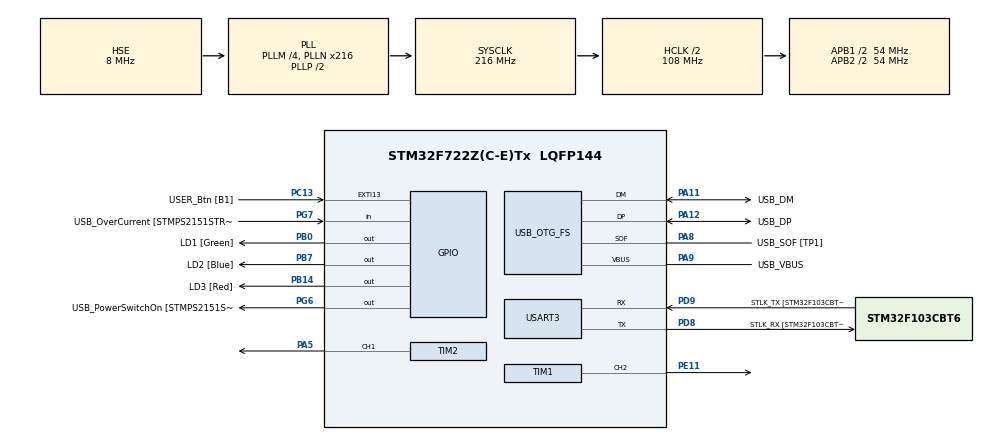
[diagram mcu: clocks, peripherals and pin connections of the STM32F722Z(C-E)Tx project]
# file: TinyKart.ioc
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Mcu.Family=STM32F7
Mcu.Name=STM32F722Z(C-E)Tx
Mcu.Package=LQFP144
NVIC.PriorityGroup=NVIC_PRIORITYGROUP_4
PA10.GPIO_Label=USB_ID
PA10.Signal=USB_OTG_FS_ID
PA11.GPIO_Label=USB_DM
PA11.Mode=Device_Only
PA11.Signal=USB_OTG_FS_DM
PA12.GPIO_Label=USB_DP
PA12.Mode=Device_Only
PA12.Signal=USB_OTG_FS_DP
PA13.GPIO_Label=TMS
PA13.Mode=Serial_Wire
PA13.Signal=SYS_JTMS-SWDIO
PA14.GPIO_Label=TCK
PA14.Mode=Serial_Wire
PA14.Signal=SYS_JTCK-SWCLK
PA5.Signal=S_TIM2_CH1_ETR
PA8.GPIO_Label=USB_SOF [TP1]
PA8.Mode=Activate_SOF_FS
PA8.Signal=USB_OTG_FS_SOF
PA9.GPIO_Label=USB_VBUS
PA9.Mode=Activate_VBUS
PA9.Signal=USB_OTG_FS_VBUS
PB0.GPIO_Label=LD1 [Green]
PB0.Signal=GPIO_Output
PB14.GPIO_Label=LD3 [Red]
PB14.Signal=GPIO_Output
PB3.GPIO_Label=SWO
PB3.Signal=SYS_JTDO-SWO
PB7.GPIO_Label=LD2 [Blue]
PB7.Signal=GPIO_Output
PC13.GPIO_Label=USER_Btn [B1]
PC13.Signal=GPXTI13
PC14-OSC32_IN.Mode=LSE-External-Oscillator
PC14-OSC32_IN.Signal=RCC_OSC32_IN
PC15-OSC32_OUT.Mode=LSE-External-Oscillator
PC15-OSC32_OUT.Signal=RCC_OSC32_OUT
PD8.GPIO_Label=STLK_RX [STM32F103CBT6_PA3]
PD8.Mode=Asynchronous
PD8.Signal=USART3_TX
PD9.GPIO_Label=STLK_TX [STM32F103CBT6_PA2]
PD9.Mode=Asynchronous
PD9.Signal=USART3_RX
PE11.Signal=S_TIM1_CH2
PG6.GPIO_Label=USB_PowerSwitchOn [STMPS2151STR_EN]
PG6.Signal=GPIO_Output
PG7.GPIO_Label=USB_OverCurrent [STMPS2151STR_FAULT]
PG7.Signal=GPIO_Input
PH0-OSC_IN.GPIO_Label=MCO
PH0-OSC_IN.Mode=HSE-External-Clock-Source
PH0-OSC_IN.Signal=RCC_OSC_IN
PH1-OSC_OUT.Mode=HSE-External-Clock-Source
PH1-OSC_OUT.Signal=RCC_OSC_OUT
ProjectManager.HeapSize=0x200
ProjectManager.StackSize=0x400
ProjectManager.TargetToolchain=STM32CubeIDE
RCC.48MHZClocksFreq_Value=24000000
RCC.AHBCLKDivider=RCC_SYSCLK_DIV2
RCC.AHBFreq_Value=108000000
RCC.APB1CLKDivider=RCC_HCLK_DIV2
RCC.APB1Freq_Value=54000000
RCC.APB1TimFreq_Value=108000000
RCC.APB2CLKDivider=RCC_HCLK_DIV2
RCC.APB2Freq_Value=54000000
RCC.APB2TimFreq_Value=108000000
RCC.CortexFreq_Value=108000000
RCC.HCLKFreq_Value=108000000
RCC.HSE_VALUE=8000000
RCC.HSI_VALUE=16000000
RCC.PLLM=4
RCC.PLLMUL=RCC_PLL_MUL9
RCC.PLLN=216
RCC.PLLQ=9
RCC.PRESCALERUSB=RCC_USBCLKSOURCE_PLL_DIV1_5
RCC.SYSCLKFreq_VALUE=216000000
RCC.SYSCLKSource=RCC_SYSCLKSOURCE_PLLCLK
RCC.SYSCLKSourceVirtual=RCC_SYSCLKSOURCE_PLLCLK
RCC.USBFreq_Value=48000000
RCC.VCOOutputFreq_Value=432000000
SH.S_TIM1_CH2.0=TIM1_CH2,PWM Generation2 CH2
SH.S_TIM2_CH1_ETR.0=TIM2_CH1,PWM Generation1 CH1
TIM1.Channel-PWM\ Generation2\ CH2=TIM_CHANNEL_2
TIM1.Period=99
TIM1.Prescaler=5399
TIM2.Channel-PWM\ Generation1\ CH1=TIM_CHANNEL_1
TIM2.Period=99
TIM2.Prescaler=5399
USART3.VirtualMode-Asynchronous=VM_ASYNC
USB_OTG_FS.VirtualMode=Device_Only
board=NUCLEO-F722ZE

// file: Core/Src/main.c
/* USER CODE BEGIN Header */
/**
  ******************************************************************************
  * @file           : main.c
  * @brief          : Main program body
  ******************************************************************************
  * @attention
  *
  * Copyright (c) 2023 STMicroelectronics.
  * All rights reserved.
  *
  * This software is licensed under terms that can be found in the LICENSE file
  * in the root directory of this software component.
  * If no LICENSE file comes with this software, it is provided AS-IS.
  *
  ******************************************************************************
  */
/* USER CODE END Header */
#include "main.h"

TIM_HandleTypeDef htim1;
TIM_HandleTypeDef htim2;

UART_HandleTypeDef huart3;

PCD_HandleTypeDef hpcd_USB_OTG_FS;

void SystemClock_Config(void);
static void MX_GPIO_Init(void);
static void MX_USART3_UART_Init(void);
static void MX_USB_OTG_FS_PCD_Init(void);
static void MX_TIM1_Init(void);
static void MX_TIM2_Init(void);

/* USER CODE BEGIN 0 */
void Arming(){
	TIM1->CCR2 = 15;
	HAL_Delay(100);
	TIM1->CCR2 = 16;
	HAL_Delay(100);
	TIM1->CCR2 = 14;
	HAL_Delay(100);
	TIM1->CCR2 = 15;
	HAL_Delay(500);
	return;
}
/* USER CODE END 0 */

int main(void)
{

  /* MCU Configuration--------------------------------------------------------*/

  /* Reset of all peripherals, Initializes the Flash interface and the Systick. */
  HAL_Init();

  /* Configure the system clock */
  SystemClock_Config();

  /* Initialize all configured peripherals */
  MX_GPIO_Init();
  MX_USART3_UART_Init();
  MX_USB_OTG_FS_PCD_Init();
  MX_TIM1_Init();
  MX_TIM2_Init();
  /* USER CODE BEGIN 2 */
  HAL_TIM_PWM_Start(&htim2,TIM_CHANNEL_1);
  HAL_TIM_PWM_Start(&htim1,TIM_CHANNEL_2);

  Arming();
  int cnt = 15;
  TIM2->CCR1 = cnt;
  HAL_Delay(100);
  /* USER CODE END 2 */

  /* Infinite loop */
  /* USER CODE BEGIN WHILE */
  while (1)
  {
//	  while(cnt<19){
//		  TIM2->CCR1 = cnt;
//		  cnt++;
//		  HAL_Delay(100);
//	  }
	  while(cnt>10){
	  		  TIM2->CCR1 = cnt;
	  		  cnt--;
	  		  HAL_Delay(100);
	  }
  }
    /* USER CODE END WHILE */

}

void SystemClock_Config(void)
{
  RCC_OscInitTypeDef RCC_OscInitStruct = {0};
  RCC_ClkInitTypeDef RCC_ClkInitStruct = {0};

  /** Configure LSE Drive Capability
  */
  HAL_PWR_EnableBkUpAccess();

  /** Configure the main internal regulator output voltage
  */
  __HAL_RCC_PWR_CLK_ENABLE();
  __HAL_PWR_VOLTAGESCALING_CONFIG(PWR_REGULATOR_VOLTAGE_SCALE3);

  /** Initializes the RCC Oscillators according to the specified parameters
  * in the RCC_OscInitTypeDef structure.
  */
  RCC_OscInitStruct.OscillatorType = RCC_OSCILLATORTYPE_HSE;
  RCC_OscInitStruct.HSEState = RCC_HSE_BYPASS;
  RCC_OscInitStruct.PLL.PLLState = RCC_PLL_ON;
  RCC_OscInitStruct.PLL.PLLSource = RCC_PLLSOURCE_HSE;
  RCC_OscInitStruct.PLL.PLLM = 4;
  RCC_OscInitStruct.PLL.PLLN = 216;
  RCC_OscInitStruct.PLL.PLLP = RCC_PLLP_DIV2;
  RCC_OscInitStruct.PLL.PLLQ = 9;
  if (HAL_RCC_OscConfig(&RCC_OscInitStruct) != HAL_OK)
  {
    Error_Handler();
  }

  /** Activate the Over-Drive mode
  */
  if (HAL_PWREx_EnableOverDrive() != HAL_OK)
  {
    Error_Handler();
  }

  /** Initializes the CPU, AHB and APB buses clocks
  */
  RCC_ClkInitStruct.ClockType = RCC_CLOCKTYPE_HCLK|RCC_CLOCKTYPE_SYSCLK
                              |RCC_CLOCKTYPE_PCLK1|RCC_CLOCKTYPE_PCLK2;
  RCC_ClkInitStruct.SYSCLKSource = RCC_SYSCLKSOURCE_PLLCLK;
  RCC_ClkInitStruct.AHBCLKDivider = RCC_SYSCLK_DIV2;
  RCC_ClkInitStruct.APB1CLKDivider = RCC_HCLK_DIV2;
  RCC_ClkInitStruct.APB2CLKDivider = RCC_HCLK_DIV2;

  if (HAL_RCC_ClockConfig(&RCC_ClkInitStruct, FLASH_LATENCY_3) != HAL_OK)
  {
    Error_Handler();
  }
}

static void MX_TIM1_Init(void)
{

  TIM_MasterConfigTypeDef sMasterConfig = {0};
  TIM_OC_InitTypeDef sConfigOC = {0};
  TIM_BreakDeadTimeConfigTypeDef sBreakDeadTimeConfig = {0};

  htim1.Instance = TIM1;
  htim1.Init.Prescaler = 5399;
  htim1.Init.CounterMode = TIM_COUNTERMODE_UP;
  htim1.Init.Period = 99;
  htim1.Init.ClockDivision = TIM_CLOCKDIVISION_DIV1;
  htim1.Init.RepetitionCounter = 0;
  htim1.Init.AutoReloadPreload = TIM_AUTORELOAD_PRELOAD_DISABLE;
  if (HAL_TIM_PWM_Init(&htim1) != HAL_OK)
  {
    Error_Handler();
  }
  sMasterConfig.MasterOutputTrigger = TIM_TRGO_RESET;
  sMasterConfig.MasterOutputTrigger2 = TIM_TRGO2_RESET;
  sMasterConfig.MasterSlaveMode = TIM_MASTERSLAVEMODE_DISABLE;
  if (HAL_TIMEx_MasterConfigSynchronization(&htim1, &sMasterConfig) != HAL_OK)
  {
    Error_Handler();
  }
  sConfigOC.OCMode = TIM_OCMODE_PWM1;
  sConfigOC.Pulse = 0;
  sConfigOC.OCPolarity = TIM_OCPOLARITY_HIGH;
  sConfigOC.OCNPolarity = TIM_OCNPOLARITY_HIGH;
  sConfigOC.OCFastMode = TIM_OCFAST_DISABLE;
  sConfigOC.OCIdleState = TIM_OCIDLESTATE_RESET;
  sConfigOC.OCNIdleState = TIM_OCNIDLESTATE_RESET;
  if (HAL_TIM_PWM_ConfigChannel(&htim1, &sConfigOC, TIM_CHANNEL_2) != HAL_OK)
  {
    Error_Handler();
  }
  sBreakDeadTimeConfig.OffStateRunMode = TIM_OSSR_DISABLE;
  sBreakDeadTimeConfig.OffStateIDLEMode = TIM_OSSI_DISABLE;
  sBreakDeadTimeConfig.LockLevel = TIM_LOCKLEVEL_OFF;
  sBreakDeadTimeConfig.DeadTime = 0;
  sBreakDeadTimeConfig.BreakState = TIM_BREAK_DISABLE;
  sBreakDeadTimeConfig.BreakPolarity = TIM_BREAKPOLARITY_HIGH;
  sBreakDeadTimeConfig.BreakFilter = 0;
  sBreakDeadTimeConfig.Break2State = TIM_BREAK2_DISABLE;
  sBreakDeadTimeConfig.Break2Polarity = TIM_BREAK2POLARITY_HIGH;
  sBreakDeadTimeConfig.Break2Filter = 0;
  sBreakDeadTimeConfig.AutomaticOutput = TIM_AUTOMATICOUTPUT_DISABLE;
  if (HAL_TIMEx_ConfigBreakDeadTime(&htim1, &sBreakDeadTimeConfig) != HAL_OK)
  {
    Error_Handler();
  }
  HAL_TIM_MspPostInit(&htim1);

}

static void MX_TIM2_Init(void)
{

  TIM_MasterConfigTypeDef sMasterConfig = {0};
  TIM_OC_InitTypeDef sConfigOC = {0};

  htim2.Instance = TIM2;
  htim2.Init.Prescaler = 5399;
  htim2.Init.CounterMode = TIM_COUNTERMODE_UP;
  htim2.Init.Period = 99;
  htim2.Init.ClockDivision = TIM_CLOCKDIVISION_DIV1;
  htim2.Init.AutoReloadPreload = TIM_AUTORELOAD_PRELOAD_DISABLE;
  if (HAL_TIM_PWM_Init(&htim2) != HAL_OK)
  {
    Error_Handler();
  }
  sMasterConfig.MasterOutputTrigger = TIM_TRGO_RESET;
  sMasterConfig.MasterSlaveMode = TIM_MASTERSLAVEMODE_DISABLE;
  if (HAL_TIMEx_MasterConfigSynchronization(&htim2, &sMasterConfig) != HAL_OK)
  {
    Error_Handler();
  }
  sConfigOC.OCMode = TIM_OCMODE_PWM1;
  sConfigOC.Pulse = 0;
  sConfigOC.OCPolarity = TIM_OCPOLARITY_HIGH;
  sConfigOC.OCFastMode = TIM_OCFAST_DISABLE;
  if (HAL_TIM_PWM_ConfigChannel(&htim2, &sConfigOC, TIM_CHANNEL_1) != HAL_OK)
  {
    Error_Handler();
  }
  HAL_TIM_MspPostInit(&htim2);

}

static void MX_USART3_UART_Init(void)
{

  huart3.Instance = USART3;
  huart3.Init.BaudRate = 115200;
  huart3.Init.WordLength = UART_WORDLENGTH_8B;
  huart3.Init.StopBits = UART_STOPBITS_1;
  huart3.Init.Parity = UART_PARITY_NONE;
  huart3.Init.Mode = UART_MODE_TX_RX;
  huart3.Init.HwFlowCtl = UART_HWCONTROL_NONE;
  huart3.Init.OverSampling = UART_OVERSAMPLING_16;
  huart3.Init.OneBitSampling = UART_ONE_BIT_SAMPLE_DISABLE;
  huart3.AdvancedInit.AdvFeatureInit = UART_ADVFEATURE_NO_INIT;
  if (HAL_UART_Init(&huart3) != HAL_OK)
  {
    Error_Handler();
  }

}

static void MX_USB_OTG_FS_PCD_Init(void)
{

  hpcd_USB_OTG_FS.Instance = USB_OTG_FS;
  hpcd_USB_OTG_FS.Init.dev_endpoints = 6;
  hpcd_USB_OTG_FS.Init.dma_enable = DISABLE;
  hpcd_USB_OTG_FS.Init.phy_itface = PCD_PHY_EMBEDDED;
  hpcd_USB_OTG_FS.Init.Sof_enable = ENABLE;
  hpcd_USB_OTG_FS.Init.low_power_enable = DISABLE;
  hpcd_USB_OTG_FS.Init.lpm_enable = DISABLE;
  hpcd_USB_OTG_FS.Init.battery_charging_enable = ENABLE;
  hpcd_USB_OTG_FS.Init.vbus_sensing_enable = ENABLE;
  hpcd_USB_OTG_FS.Init.use_dedicated_ep1 = DISABLE;
  if (HAL_PCD_Init(&hpcd_USB_OTG_FS) != HAL_OK)
  {
    Error_Handler();
  }

}

static void MX_GPIO_Init(void)
{
  GPIO_InitTypeDef GPIO_InitStruct = {0};

  /* GPIO Ports Clock Enable */
  __HAL_RCC_GPIOC_CLK_ENABLE();
  __HAL_RCC_GPIOH_CLK_ENABLE();
  __HAL_RCC_GPIOA_CLK_ENABLE();
  __HAL_RCC_GPIOB_CLK_ENABLE();
  __HAL_RCC_GPIOE_CLK_ENABLE();
  __HAL_RCC_GPIOD_CLK_ENABLE();
  __HAL_RCC_GPIOG_CLK_ENABLE();

  /*Configure GPIO pin Output Level */
  HAL_GPIO_WritePin(GPIOB, LD1_Pin|LD3_Pin|LD2_Pin, GPIO_PIN_RESET);

  /*Configure GPIO pin Output Level */
  HAL_GPIO_WritePin(USB_PowerSwitchOn_GPIO_Port, USB_PowerSwitchOn_Pin, GPIO_PIN_RESET);

  /*Configure GPIO pin : USER_Btn_Pin */
  GPIO_InitStruct.Pin = USER_Btn_Pin;
  GPIO_InitStruct.Mode = GPIO_MODE_IT_RISING;
  GPIO_InitStruct.Pull = GPIO_NOPULL;
  HAL_GPIO_Init(USER_Btn_GPIO_Port, &GPIO_InitStruct);

  /*Configure GPIO pins : LD1_Pin LD3_Pin LD2_Pin */
  GPIO_InitStruct.Pin = LD1_Pin|LD3_Pin|LD2_Pin;
  GPIO_InitStruct.Mode = GPIO_MODE_OUTPUT_PP;
  GPIO_InitStruct.Pull = GPIO_NOPULL;
  GPIO_InitStruct.Speed = GPIO_SPEED_FREQ_LOW;
  HAL_GPIO_Init(GPIOB, &GPIO_InitStruct);

  /*Configure GPIO pin : USB_PowerSwitchOn_Pin */
  GPIO_InitStruct.Pin = USB_PowerSwitchOn_Pin;
  GPIO_InitStruct.Mode = GPIO_MODE_OUTPUT_PP;
  GPIO_InitStruct.Pull = GPIO_NOPULL;
  GPIO_InitStruct.Speed = GPIO_SPEED_FREQ_LOW;
  HAL_GPIO_Init(USB_PowerSwitchOn_GPIO_Port, &GPIO_InitStruct);

  /*Configure GPIO pin : USB_OverCurrent_Pin */
  GPIO_InitStruct.Pin = USB_OverCurrent_Pin;
  GPIO_InitStruct.Mode = GPIO_MODE_INPUT;
  GPIO_InitStruct.Pull = GPIO_NOPULL;
  HAL_GPIO_Init(USB_OverCurrent_GPIO_Port, &GPIO_InitStruct);

}

void Error_Handler(void)
{
  __disable_irq();
  while (1)
  {
  }
}
